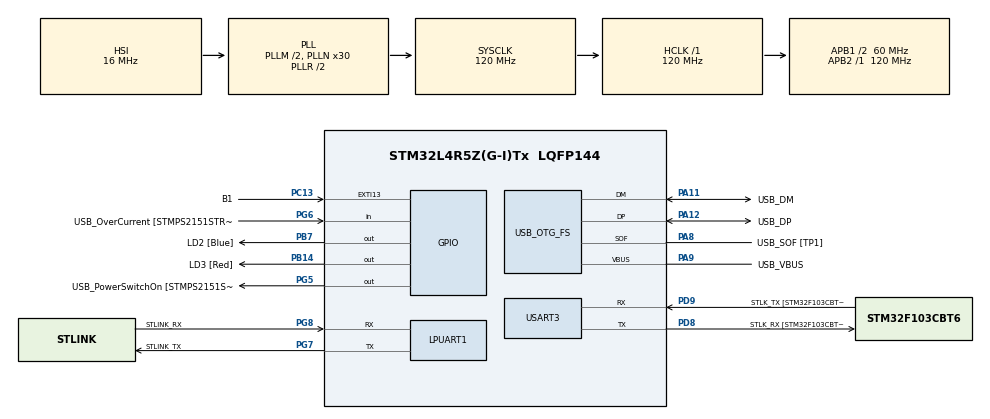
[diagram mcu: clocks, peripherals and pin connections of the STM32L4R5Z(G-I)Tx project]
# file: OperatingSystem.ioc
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FREERTOS.Queues01=myQueue01,16,uint16_t,0,Dynamic,NULL,NULL
FREERTOS.Tasks01=MPITask,24,128,StartMPITask,Default,NULL,Dynamic,NULL,NULL;MemoryModule,16,128,StartMemoryModule,Default,NULL,Dynamic,NULL,NULL;SysCritInfo,8,128,StartSysCritInfo,Default,NULL,Dynamic,NULL,NULL
LPUART1.WordLength=UART_WORDLENGTH_8B
Mcu.Family=STM32L4
Mcu.Name=STM32L4R5Z(G-I)Tx
Mcu.Package=LQFP144
NVIC.PriorityGroup=NVIC_PRIORITYGROUP_4
NVIC.RTC_Alarm_IRQn=true\:5\:0\:false\:false\:true\:true\:true\:true\:true
NVIC.TIM6_DAC_IRQn=true\:15\:0\:false\:false\:true\:false\:false\:true\:true
NVIC.TimeBase=TIM6_DAC_IRQn
NVIC.TimeBaseIP=TIM6
PA10.GPIO_Label=USB_ID
PA10.Signal=USB_OTG_FS_ID
PA11.GPIO_Label=USB_DM
PA11.Mode=Device_Only
PA11.Signal=USB_OTG_FS_DM
PA12.GPIO_Label=USB_DP
PA12.Mode=Device_Only
PA12.Signal=USB_OTG_FS_DP
PA13\ (JTMS/SWDIO).GPIO_Label=TMS
PA13\ (JTMS/SWDIO).Mode=Trace_Asynchronous_SW
PA13\ (JTMS/SWDIO).Signal=SYS_JTMS-SWDIO
PA14\ (JTCK/SWCLK).GPIO_Label=TCK
PA14\ (JTCK/SWCLK).Mode=Trace_Asynchronous_SW
PA14\ (JTCK/SWCLK).Signal=SYS_JTCK-SWCLK
PA8.GPIO_Label=USB_SOF [TP1]
PA8.Mode=Activate_SOF_FS
PA8.Signal=USB_OTG_FS_SOF
PA9.GPIO_Label=USB_VBUS
PA9.Mode=Activate_VBUS
PA9.Signal=USB_OTG_FS_VBUS
PB14.GPIO_Label=LD3 [Red]
PB14.Signal=GPIO_Output
PB3\ (JTDO/TRACESWO).GPIO_Label=SWO
PB3\ (JTDO/TRACESWO).Mode=Trace_Asynchronous_SW
PB3\ (JTDO/TRACESWO).Signal=SYS_JTDO-SWO
PB7.GPIO_Label=LD2 [Blue]
PB7.Signal=GPIO_Output
PC13.GPIO_Label=B1
PC13.Signal=GPXTI13
PC14-OSC32_IN\ (PC14).Mode=LSE-External-Oscillator
PC14-OSC32_IN\ (PC14).Signal=RCC_OSC32_IN
PC15-OSC32_OUT\ (PC15).Mode=LSE-External-Oscillator
PC15-OSC32_OUT\ (PC15).Signal=RCC_OSC32_OUT
PD8.GPIO_Label=STLK_RX [STM32F103CBT6_PA3]
PD8.Mode=Asynchronous
PD8.Signal=USART3_TX
PD9.GPIO_Label=STLK_TX [STM32F103CBT6_PA2]
PD9.Mode=Asynchronous
PD9.Signal=USART3_RX
PG5.GPIO_Label=USB_PowerSwitchOn [STMPS2151STR_EN]
PG5.Signal=GPIO_Output
PG6.GPIO_Label=USB_OverCurrent [STMPS2151STR_FAULT]
PG6.Signal=GPIO_Input
PG7.GPIO_Label=STLINK_TX
PG7.Mode=Asynchronous
PG7.Signal=LPUART1_TX
PG8.GPIO_Label=STLINK_RX
PG8.Mode=Asynchronous
PG8.Signal=LPUART1_RX
PH0-OSC_IN\ (PH0).Signal=RCC_OSC_IN
PH1-OSC_OUT\ (PH1).Signal=RCC_OSC_OUT
ProjectManager.HeapSize=0x200
ProjectManager.StackSize=0x400
ProjectManager.TargetToolchain=STM32CubeIDE
RCC.48MHZClocksFreq_Value=24000000
RCC.ADCFreq_Value=96000000
RCC.AHBFreq_Value=120000000
RCC.APB1CLKDivider=RCC_HCLK_DIV2
RCC.APB1Freq_Value=60000000
RCC.APB1TimFreq_Value=120000000
RCC.APB2Freq_Value=120000000
RCC.APB2TimFreq_Value=120000000
RCC.CK48CLockSelection=RCC_USBCLKSOURCE_HSI48
RCC.CortexFreq_Value=120000000
RCC.HCLKFreq_Value=120000000
RCC.HSE_VALUE=8000000
RCC.HSI48_VALUE=48000000
RCC.HSI_VALUE=16000000
RCC.MSI_VALUE=4000000
RCC.PLLM1=2
RCC.PLLMUL=RCC_PLL_MUL9
RCC.PLLN=30
RCC.PLLSAI1N=12
RCC.PLLSourceVirtual=RCC_PLLSOURCE_HSI
RCC.PRESCALERUSB=RCC_USBCLKSOURCE_PLL_DIV1_5
RCC.SYSCLKFreq_VALUE=120000000
RCC.SYSCLKSource=RCC_SYSCLKSOURCE_PLLCLK
RCC.SYSCLKSourceVirtual=RCC_SYSCLKSOURCE_PLLCLK
RCC.USBFreq_Value=48000000
RCC.VCOOutputFreq_Value=240000000
RTC.Alarm-Alarm\ A=RTC_ALARM_A
RTC.Seconds_A-Alarm\ A=1
USART3.VirtualMode-Asynchronous=VM_ASYNC
USB_OTG_FS.VirtualMode=Device_Only
USB_OTG_FS.low_power_enable=DISABLE
VP_FREERTOS_VS_CMSIS_V2.Mode=CMSIS_V2
VP_RTC_VS_RTC_Activate.Mode=RTC_Enabled
VP_RTC_VS_RTC_Alarm_A_Intern.Mode=Alarm A
VP_RTC_VS_RTC_Calendar.Mode=RTC_Calendar
VP_SYS_VS_tim6.Mode=TIM6
board=NUCLEO-L4R5ZI

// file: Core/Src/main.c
/* USER CODE BEGIN Header */
/**
  ******************************************************************************
  * @file           : main.c
  * @brief          : Main program body
  ******************************************************************************
  * @attention
  *
  * Copyright (c) 2024 STMicroelectronics.
  * All rights reserved.
  *
  * This software is licensed under terms that can be found in the LICENSE file
  * in the root directory of this software component.
  * If no LICENSE file comes with this software, it is provided AS-IS.
  *
  ******************************************************************************
  */
/* USER CODE END Header */
#include "main.h"
#include "cmsis_os.h"

/* USER CODE BEGIN Includes */

#include <stdlib.h>
#include <stdio.h>
#include <string.h>

/* USER CODE END Includes */

UART_HandleTypeDef hlpuart1;
UART_HandleTypeDef huart3;

RTC_HandleTypeDef hrtc;

PCD_HandleTypeDef hpcd_USB_OTG_FS;

/* Definitions for MPITask */
osThreadId_t MPITaskHandle;
const osThreadAttr_t MPITask_attributes = {
  .name = "MPITask",
  .stack_size = 128 * 4,
  .priority = (osPriority_t) osPriorityNormal,
};
/* Definitions for MemoryModule */
osThreadId_t MemoryModuleHandle;
const osThreadAttr_t MemoryModule_attributes = {
  .name = "MemoryModule",
  .stack_size = 128 * 4,
  .priority = (osPriority_t) osPriorityBelowNormal,
};
/* Definitions for SysCritInfo */
osThreadId_t SysCritInfoHandle;
const osThreadAttr_t SysCritInfo_attributes = {
  .name = "SysCritInfo",
  .stack_size = 128 * 4,
  .priority = (osPriority_t) osPriorityLow,
};
/* Definitions for myQueue01 */
osMessageQueueId_t myQueue01Handle;
const osMessageQueueAttr_t myQueue01_attributes = {
  .name = "myQueue01"
};

void SystemClock_Config(void);
static void MX_GPIO_Init(void);
static void MX_LPUART1_UART_Init(void);
static void MX_USART3_UART_Init(void);
static void MX_USB_OTG_FS_PCD_Init(void);
static void MX_RTC_Init(void);
void StartMPITask(void *argument);
void StartMemoryModule(void *argument);
void StartSysCritInfo(void *argument);

int main(void)
{

  /* MCU Configuration--------------------------------------------------------*/

  /* Reset of all peripherals, Initializes the Flash interface and the Systick. */
  HAL_Init();

  /* Configure the system clock */
  SystemClock_Config();

  /* Initialize all configured peripherals */
  MX_GPIO_Init();
  MX_LPUART1_UART_Init();
  MX_USART3_UART_Init();
  MX_USB_OTG_FS_PCD_Init();
  MX_RTC_Init();
  /* USER CODE BEGIN 2 */
  char * buf = "HEllo world\n";
  /* USER CODE END 2 */

  /* Init scheduler */
  osKernelInitialize();

  /* Create the queue(s) */
  /* creation of myQueue01 */
  myQueue01Handle = osMessageQueueNew (16, sizeof(uint16_t), &myQueue01_attributes);

  /* Create the thread(s) */
  /* creation of MPITask */
  MPITaskHandle = osThreadNew(StartMPITask, NULL, &MPITask_attributes);

  /* creation of MemoryModule */
  MemoryModuleHandle = osThreadNew(StartMemoryModule, NULL, &MemoryModule_attributes);

  /* creation of SysCritInfo */
  SysCritInfoHandle = osThreadNew(StartSysCritInfo, NULL, &SysCritInfo_attributes);

  /* Start scheduler */
  osKernelStart();

  /* We should never get here as control is now taken by the scheduler */
  /* Infinite loop */
  /* USER CODE BEGIN WHILE */
  while (1)
  {
//	  HAL_UART_Transmit(&hlpuart1,(uint8_t *) buf, sizeof(buf), 1000);
//	  HAL_GPIO_TogglePin(GPIOB, GPIO_PIN_14);
//	  HAL_Delay(250);
    /* USER CODE END WHILE */

  }
}

void SystemClock_Config(void)
{
  RCC_OscInitTypeDef RCC_OscInitStruct = {0};
  RCC_ClkInitTypeDef RCC_ClkInitStruct = {0};

  /** Configure the main internal regulator output voltage
  */
  if (HAL_PWREx_ControlVoltageScaling(PWR_REGULATOR_VOLTAGE_SCALE1_BOOST) != HAL_OK)
  {
    Error_Handler();
  }

  /** Initializes the RCC Oscillators according to the specified parameters
  * in the RCC_OscInitTypeDef structure.
  */
  RCC_OscInitStruct.OscillatorType = RCC_OSCILLATORTYPE_HSI48|RCC_OSCILLATORTYPE_HSI
                              |RCC_OSCILLATORTYPE_LSI;
  RCC_OscInitStruct.HSIState = RCC_HSI_ON;
  RCC_OscInitStruct.HSI48State = RCC_HSI48_ON;
  RCC_OscInitStruct.HSICalibrationValue = RCC_HSICALIBRATION_DEFAULT;
  RCC_OscInitStruct.LSIState = RCC_LSI_ON;
  RCC_OscInitStruct.PLL.PLLState = RCC_PLL_ON;
  RCC_OscInitStruct.PLL.PLLSource = RCC_PLLSOURCE_HSI;
  RCC_OscInitStruct.PLL.PLLM = 2;
  RCC_OscInitStruct.PLL.PLLN = 30;
  RCC_OscInitStruct.PLL.PLLP = RCC_PLLP_DIV2;
  RCC_OscInitStruct.PLL.PLLQ = RCC_PLLQ_DIV2;
  RCC_OscInitStruct.PLL.PLLR = RCC_PLLR_DIV2;
  if (HAL_RCC_OscConfig(&RCC_OscInitStruct) != HAL_OK)
  {
    Error_Handler();
  }

  /** Initializes the CPU, AHB and APB buses clocks
  */
  RCC_ClkInitStruct.ClockType = RCC_CLOCKTYPE_HCLK|RCC_CLOCKTYPE_SYSCLK
                              |RCC_CLOCKTYPE_PCLK1|RCC_CLOCKTYPE_PCLK2;
  RCC_ClkInitStruct.SYSCLKSource = RCC_SYSCLKSOURCE_PLLCLK;
  RCC_ClkInitStruct.AHBCLKDivider = RCC_SYSCLK_DIV1;
  RCC_ClkInitStruct.APB1CLKDivider = RCC_HCLK_DIV2;
  RCC_ClkInitStruct.APB2CLKDivider = RCC_HCLK_DIV1;

  if (HAL_RCC_ClockConfig(&RCC_ClkInitStruct, FLASH_LATENCY_5) != HAL_OK)
  {
    Error_Handler();
  }
}

static void MX_LPUART1_UART_Init(void)
{

  hlpuart1.Instance = LPUART1;
  hlpuart1.Init.BaudRate = 209700;
  hlpuart1.Init.WordLength = UART_WORDLENGTH_8B;
  hlpuart1.Init.StopBits = UART_STOPBITS_1;
  hlpuart1.Init.Parity = UART_PARITY_NONE;
  hlpuart1.Init.Mode = UART_MODE_TX_RX;
  hlpuart1.Init.HwFlowCtl = UART_HWCONTROL_NONE;
  hlpuart1.Init.OneBitSampling = UART_ONE_BIT_SAMPLE_DISABLE;
  hlpuart1.Init.ClockPrescaler = UART_PRESCALER_DIV1;
  hlpuart1.AdvancedInit.AdvFeatureInit = UART_ADVFEATURE_NO_INIT;
  hlpuart1.FifoMode = UART_FIFOMODE_DISABLE;
  if (HAL_UART_Init(&hlpuart1) != HAL_OK)
  {
    Error_Handler();
  }
  if (HAL_UARTEx_SetTxFifoThreshold(&hlpuart1, UART_TXFIFO_THRESHOLD_1_8) != HAL_OK)
  {
    Error_Handler();
  }
  if (HAL_UARTEx_SetRxFifoThreshold(&hlpuart1, UART_RXFIFO_THRESHOLD_1_8) != HAL_OK)
  {
    Error_Handler();
  }
  if (HAL_UARTEx_DisableFifoMode(&hlpuart1) != HAL_OK)
  {
    Error_Handler();
  }

}

static void MX_USART3_UART_Init(void)
{

  huart3.Instance = USART3;
  huart3.Init.BaudRate = 115200;
  huart3.Init.WordLength = UART_WORDLENGTH_8B;
  huart3.Init.StopBits = UART_STOPBITS_1;
  huart3.Init.Parity = UART_PARITY_NONE;
  huart3.Init.Mode = UART_MODE_TX_RX;
  huart3.Init.HwFlowCtl = UART_HWCONTROL_NONE;
  huart3.Init.OverSampling = UART_OVERSAMPLING_16;
  huart3.Init.OneBitSampling = UART_ONE_BIT_SAMPLE_DISABLE;
  huart3.Init.ClockPrescaler = UART_PRESCALER_DIV1;
  huart3.AdvancedInit.AdvFeatureInit = UART_ADVFEATURE_NO_INIT;
  if (HAL_UART_Init(&huart3) != HAL_OK)
  {
    Error_Handler();
  }
  if (HAL_UARTEx_SetTxFifoThreshold(&huart3, UART_TXFIFO_THRESHOLD_1_8) != HAL_OK)
  {
    Error_Handler();
  }
  if (HAL_UARTEx_SetRxFifoThreshold(&huart3, UART_RXFIFO_THRESHOLD_1_8) != HAL_OK)
  {
    Error_Handler();
  }
  if (HAL_UARTEx_DisableFifoMode(&huart3) != HAL_OK)
  {
    Error_Handler();
  }

}

static void MX_RTC_Init(void)
{

  RTC_TimeTypeDef sTime = {0};
  RTC_DateTypeDef sDate = {0};
  RTC_AlarmTypeDef sAlarm = {0};

  /** Initialize RTC Only
  */
  hrtc.Instance = RTC;
  hrtc.Init.HourFormat = RTC_HOURFORMAT_24;
  hrtc.Init.AsynchPrediv = 127;
  hrtc.Init.SynchPrediv = 255;
  hrtc.Init.OutPut = RTC_OUTPUT_DISABLE;
  hrtc.Init.OutPutRemap = RTC_OUTPUT_REMAP_NONE;
  hrtc.Init.OutPutPolarity = RTC_OUTPUT_POLARITY_HIGH;
  hrtc.Init.OutPutType = RTC_OUTPUT_TYPE_OPENDRAIN;
  if (HAL_RTC_Init(&hrtc) != HAL_OK)
  {
    Error_Handler();
  }

  /** Initialize RTC and set the Time and Date
  */
  sTime.Hours = 0x0;
  sTime.Minutes = 0x0;
  sTime.Seconds = 0x0;
  sTime.DayLightSaving = RTC_DAYLIGHTSAVING_NONE;
  sTime.StoreOperation = RTC_STOREOPERATION_RESET;
  if (HAL_RTC_SetTime(&hrtc, &sTime, RTC_FORMAT_BCD) != HAL_OK)
  {
    Error_Handler();
  }
  sDate.WeekDay = RTC_WEEKDAY_MONDAY;
  sDate.Month = RTC_MONTH_JANUARY;
  sDate.Date = 0x1;
  sDate.Year = 0x0;

  if (HAL_RTC_SetDate(&hrtc, &sDate, RTC_FORMAT_BCD) != HAL_OK)
  {
    Error_Handler();
  }

  /** Enable the Alarm A
  */
  sAlarm.AlarmTime.Hours = 0x0;
  sAlarm.AlarmTime.Minutes = 0x0;
  sAlarm.AlarmTime.Seconds = 0x1;
  sAlarm.AlarmTime.SubSeconds = 0x0;
  sAlarm.AlarmTime.DayLightSaving = RTC_DAYLIGHTSAVING_NONE;
  sAlarm.AlarmTime.StoreOperation = RTC_STOREOPERATION_RESET;
  sAlarm.AlarmMask = RTC_ALARMMASK_NONE;
  sAlarm.AlarmSubSecondMask = RTC_ALARMSUBSECONDMASK_ALL;
  sAlarm.AlarmDateWeekDaySel = RTC_ALARMDATEWEEKDAYSEL_DATE;
  sAlarm.AlarmDateWeekDay = 0x1;
  sAlarm.Alarm = RTC_ALARM_A;
  if (HAL_RTC_SetAlarm_IT(&hrtc, &sAlarm, RTC_FORMAT_BCD) != HAL_OK)
  {
    Error_Handler();
  }

}

static void MX_USB_OTG_FS_PCD_Init(void)
{

  hpcd_USB_OTG_FS.Instance = USB_OTG_FS;
  hpcd_USB_OTG_FS.Init.dev_endpoints = 6;
  hpcd_USB_OTG_FS.Init.speed = PCD_SPEED_FULL;
  hpcd_USB_OTG_FS.Init.phy_itface = PCD_PHY_EMBEDDED;
  hpcd_USB_OTG_FS.Init.Sof_enable = ENABLE;
  hpcd_USB_OTG_FS.Init.low_power_enable = DISABLE;
  hpcd_USB_OTG_FS.Init.lpm_enable = DISABLE;
  hpcd_USB_OTG_FS.Init.battery_charging_enable = ENABLE;
  hpcd_USB_OTG_FS.Init.use_dedicated_ep1 = DISABLE;
  hpcd_USB_OTG_FS.Init.vbus_sensing_enable = ENABLE;
  if (HAL_PCD_Init(&hpcd_USB_OTG_FS) != HAL_OK)
  {
    Error_Handler();
  }

}

static void MX_GPIO_Init(void)
{
  GPIO_InitTypeDef GPIO_InitStruct = {0};

  /* GPIO Ports Clock Enable */
  __HAL_RCC_GPIOC_CLK_ENABLE();
  __HAL_RCC_GPIOH_CLK_ENABLE();
  __HAL_RCC_GPIOB_CLK_ENABLE();
  __HAL_RCC_GPIOD_CLK_ENABLE();
  __HAL_RCC_GPIOG_CLK_ENABLE();
  HAL_PWREx_EnableVddIO2();
  __HAL_RCC_GPIOA_CLK_ENABLE();

  /*Configure GPIO pin Output Level */
  HAL_GPIO_WritePin(GPIOB, LD3_Pin|LD2_Pin, GPIO_PIN_RESET);

  /*Configure GPIO pin Output Level */
  HAL_GPIO_WritePin(USB_PowerSwitchOn_GPIO_Port, USB_PowerSwitchOn_Pin, GPIO_PIN_RESET);

  /*Configure GPIO pin : B1_Pin */
  GPIO_InitStruct.Pin = B1_Pin;
  GPIO_InitStruct.Mode = GPIO_MODE_IT_RISING;
  GPIO_InitStruct.Pull = GPIO_NOPULL;
  HAL_GPIO_Init(B1_GPIO_Port, &GPIO_InitStruct);

  /*Configure GPIO pins : LD3_Pin LD2_Pin */
  GPIO_InitStruct.Pin = LD3_Pin|LD2_Pin;
  GPIO_InitStruct.Mode = GPIO_MODE_OUTPUT_PP;
  GPIO_InitStruct.Pull = GPIO_NOPULL;
  GPIO_InitStruct.Speed = GPIO_SPEED_FREQ_LOW;
  HAL_GPIO_Init(GPIOB, &GPIO_InitStruct);

  /*Configure GPIO pin : USB_PowerSwitchOn_Pin */
  GPIO_InitStruct.Pin = USB_PowerSwitchOn_Pin;
  GPIO_InitStruct.Mode = GPIO_MODE_OUTPUT_PP;
  GPIO_InitStruct.Pull = GPIO_NOPULL;
  GPIO_InitStruct.Speed = GPIO_SPEED_FREQ_LOW;
  HAL_GPIO_Init(USB_PowerSwitchOn_GPIO_Port, &GPIO_InitStruct);

  /*Configure GPIO pin : USB_OverCurrent_Pin */
  GPIO_InitStruct.Pin = USB_OverCurrent_Pin;
  GPIO_InitStruct.Mode = GPIO_MODE_INPUT;
  GPIO_InitStruct.Pull = GPIO_NOPULL;
  HAL_GPIO_Init(USB_OverCurrent_GPIO_Port, &GPIO_InitStruct);

}

/* USER CODE BEGIN 4 */
void HAL_RTC_AlarmAEventCallback(RTC_HandleTypeDef *hrtc) {
  RTC_AlarmTypeDef sAlarm;
  HAL_RTC_GetAlarm(hrtc,&sAlarm,RTC_ALARM_A,FORMAT_BIN);
  if(sAlarm.AlarmTime.Seconds>58) {
    sAlarm.AlarmTime.Seconds=0;
  }else{
    sAlarm.AlarmTime.Seconds=sAlarm.AlarmTime.Seconds+1;
  }
    while(HAL_RTC_SetAlarm_IT(hrtc, &sAlarm, FORMAT_BIN)!=HAL_OK){}
    HAL_GPIO_TogglePin(GPIOB, GPIO_PIN_7);
}
/* USER CODE END 4 */

void StartMPITask(void *argument)
{
  /* USER CODE BEGIN 5 */
	char * buf = "MPI Task\r\n";
  /* Infinite loop */
  for(;;)
  {
	  HAL_UART_Transmit(&hlpuart1,(uint8_t*)buf , strlen(buf), HAL_MAX_DELAY);
//	 HAL_GPIO_TogglePin(GPIOB, GPIO_PIN_14);
    osDelay(1000);
  }
  /* USER CODE END 5 */
}

void StartMemoryModule(void *argument)
{
  /* USER CODE BEGIN StartMemoryModule */
	char * buf = "Memory Module Task\r\n";
  /* Infinite loop */
  for(;;)
  {
	 HAL_UART_Transmit(&hlpuart1, (uint8_t*)buf, strlen(buf), HAL_MAX_DELAY);
    osDelay(2000);
  }
  /* USER CODE END StartMemoryModule */
}

void StartSysCritInfo(void *argument)
{
  /* USER CODE BEGIN StartSysCritInfo */
	char * buf = "SysCritInfo Task\r\n";
	uint8_t sct_input[10];
	char * expected = "SCT";
	memset(sct_input, '\0',10);
  /* Infinite loop */
  for(;;)
  {
//	GET INPUT
	HAL_UART_Receive(&hlpuart1, sct_input, 3, HAL_MAX_DELAY);
//	NULL TERMINATE INPUT
//	input[3] = '\0';
//	CHECK INPUT
	if(strcmp(sct_input, expected) == 0){
		HAL_UART_Transmit(&hlpuart1, (uint8_t*)buf, strlen(buf), HAL_MAX_DELAY);
	}
//	memset(sct_input, '\0',3);
	osDelay(500);
  }
  /* USER CODE END StartSysCritInfo */
}

void HAL_TIM_PeriodElapsedCallback(TIM_HandleTypeDef *htim)
{
  if (htim->Instance == TIM6) {
    HAL_IncTick();
  }
}

void Error_Handler(void)
{
  __disable_irq();
  while (1)
  {
  }
}
